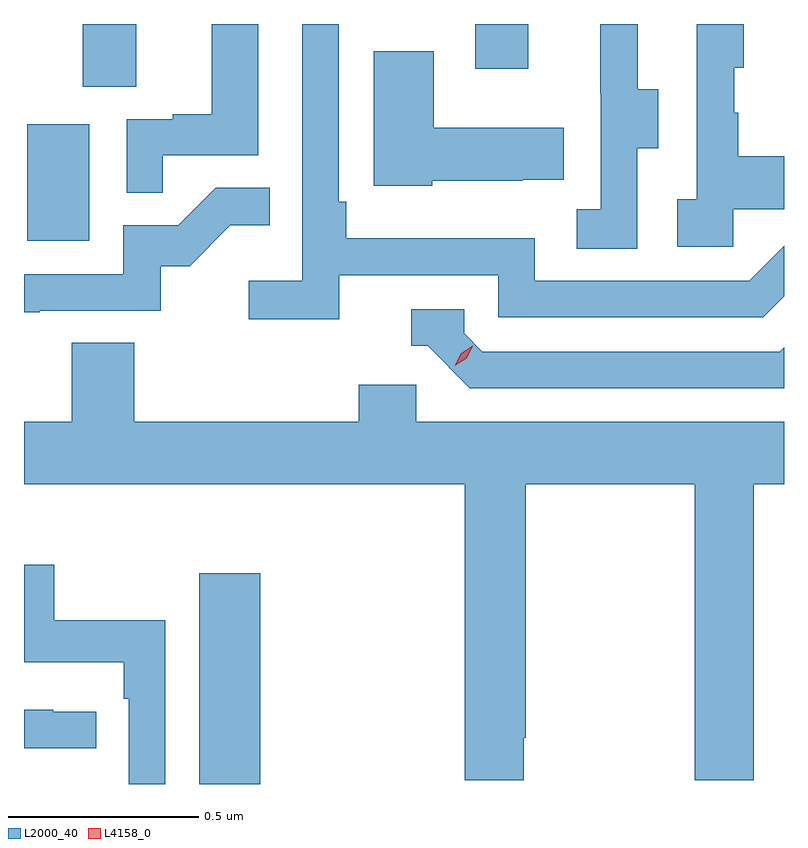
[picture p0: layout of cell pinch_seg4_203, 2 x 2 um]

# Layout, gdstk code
import gdstk
lib = gdstk.Library(unit=1e-6, precision=1e-09)
def R(c, l, rs):  # rectangles x0, y0, x1, y1
    for r in rs: c.add(gdstk.rectangle(r[:2], r[2:], *l))
def P(c, l, *ps):  # polygons
    for p in ps: c.add(gdstk.Polygon(p, *l))
L2000_40 = (2000, 40)
L4158_0 = (4158, 0)

pinch_seg4_203 = lib.new_cell('pinch_seg4_203')
R(pinch_seg4_203, L2000_40, [(981.401,817.343,981.562,817.897), (980.948,818.772,981.112,819.079), (981.095,819.178,981.235,819.343), (982.127,819.225,982.267,819.343)])
P(pinch_seg4_203, L2000_40, [(981.77,818.682),(982.188,818.682),(982.188,818.571),(982.885,818.571),(982.94,818.626),(982.94,818.759),(982.848,818.667),(982.284,818.667),(982.284,818.779),(981.788,818.779),(981.788,818.875),(981.768,818.875),(981.768,819.343),(981.672,819.343),(981.672,818.668),(981.531,818.668),(981.531,818.566),(981.77,818.566)],
  [(982.806,818.855),(982.94,818.855),(982.94,818.995),(982.819,818.995),(982.819,819.11),(982.809,819.11),(982.809,819.228),(982.834,819.228),(982.834,819.343),(982.71,819.343),(982.71,818.882),(982.659,818.882),(982.659,818.757),(982.806,818.757)],
  [(981.305,818.997),(981.556,818.997),(981.556,819.343),(981.434,819.343),(981.434,819.106),(981.331,819.106),(981.331,819.093),(981.21,819.093),(981.21,818.899),(981.305,818.899)],
  [(982.554,819.016),(982.609,819.016),(982.609,819.171),(982.555,819.171),(982.555,819.343),(982.457,819.343),(982.457,819.159),(982.458,819.159),(982.458,818.855),(982.395,818.855),(982.395,818.752),(982.554,818.752)],
  [(982.014,818.93),(982.253,818.93),(982.253,818.933),(982.361,818.933),(982.361,819.07),(982.018,819.07),(982.018,819.271),(981.86,819.271),(981.86,818.918),(982.014,818.918)],
  [(980.981,818.589),(981.3,818.589),(981.3,818.706),(981.376,818.706),(981.483,818.813),(981.587,818.813),(981.587,818.912),(981.444,818.912),(981.346,818.814),(981.201,818.814),(981.201,818.685),(980.94,818.685),(980.94,818.584),(980.981,818.584)],
  [(982.94,818.492),(982.929,818.481),(982.146,818.481),(982.098,818.529),(982.098,818.592),(981.959,818.592),(981.959,818.496),(982.002,818.496),(982.113,818.385),(982.94,818.385)],
  [(982.255,817.465),(982.26,817.465),(982.26,818.132),(982.705,818.132),(982.705,817.353),(982.86,817.353),(982.86,818.132),(982.94,818.132),(982.94,818.296),(981.972,818.296),(981.972,818.394),(981.821,818.394),(981.821,818.296),(981.23,818.296),(981.23,818.504),(981.065,818.504),(981.065,818.296),(980.94,818.296),(980.94,818.132),(982.1,818.132),(982.1,817.353),(982.255,817.353)],
  [(981.312,817.774),(981.019,817.774),(981.019,817.92),(980.94,817.92),(980.94,817.664),(981.203,817.664),(981.203,817.568),(981.216,817.568),(981.216,817.343),(981.312,817.343)],
  [(981.13,817.533),(981.017,817.533),(981.017,817.538),(980.94,817.538),(980.94,817.437),(981.13,817.437)])
P(pinch_seg4_203, L4158_0, [(982.074,818.444),(982.074,818.444),(982.09,818.476),(982.121,818.496),(982.121,818.496),(982.121,818.496),(982.105,818.463),(982.074,818.444)])

lib.write_gds('pinch_seg4_203.gds')
